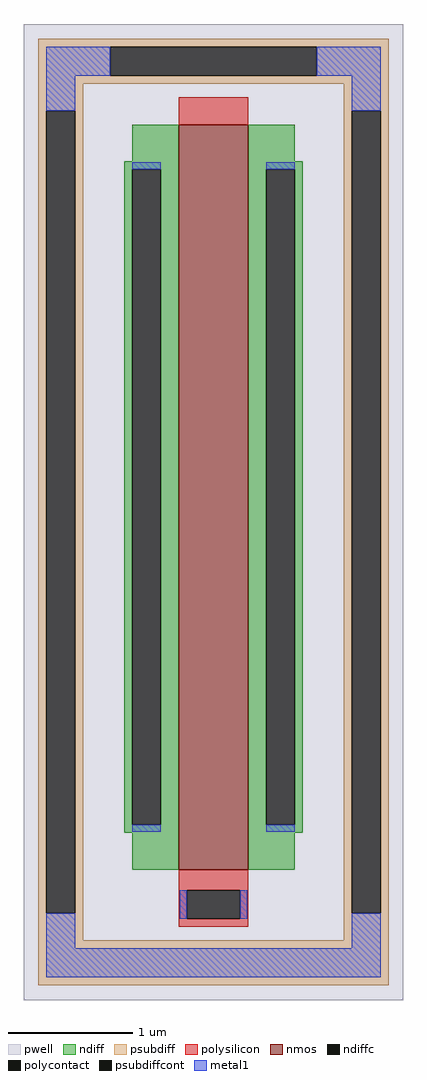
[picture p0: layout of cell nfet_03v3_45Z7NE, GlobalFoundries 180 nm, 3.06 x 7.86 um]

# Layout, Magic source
magic
tech gf180mcuD
magscale 1 10
<< pwell >>
rect -306 -786 306 786
<< nmos >>
rect -56 -576 56 624
<< ndiff >>
rect -131 565 -56 624
rect -144 552 -56 565
rect -144 -504 -131 552
rect -85 -504 -56 552
rect -144 -517 -56 -504
rect -131 -576 -56 -517
rect 56 565 131 624
rect 56 552 144 565
rect 56 -504 85 552
rect 131 -504 144 552
rect 56 -517 144 -504
rect 56 -576 131 -517
<< ndiffc >>
rect -131 -504 -85 552
rect 85 -504 131 552
<< psubdiff >>
rect -282 749 282 762
rect -282 703 -166 749
rect 166 703 282 749
rect -282 690 282 703
rect -282 646 -210 690
rect -282 -646 -269 646
rect -223 -646 -210 646
rect 210 646 282 690
rect -282 -690 -210 -646
rect 210 -646 223 646
rect 269 -646 282 646
rect 210 -690 282 -646
rect -282 -762 282 -690
<< psubdiffcont >>
rect -166 703 166 749
rect -269 -646 -223 646
rect 223 -646 269 646
<< polysilicon >>
rect -56 624 56 668
rect -56 -609 56 -576
rect -56 -655 -43 -609
rect 43 -655 56 -609
rect -56 -668 56 -655
<< polycontact >>
rect -43 -655 43 -609
<< metal1 >>
rect -269 703 -166 749
rect 166 703 269 749
rect -269 646 -223 703
rect 223 646 269 703
rect -131 552 -85 563
rect -131 -515 -85 -504
rect 85 552 131 563
rect 85 -515 131 -504
rect -269 -703 -223 -646
rect -54 -655 -43 -609
rect 43 -655 54 -609
rect 223 -703 269 -646
rect -269 -749 269 -703
<< properties >>
string FIXED_BBOX -246 -726 246 726
string gencell nfet_03v3
string library gf180mcu
string parameters w 6.0 l 0.56 m 1 nf 1 diffcov 90 polycov 100 guard 1 glc 1 grc 1 gtc 1 gbc 0 tbcov 100 rlcov 100 topc 0 botc 1 poverlap 0 doverlap 1 lmin 0.28 wmin 0.22 class mosfet full_metal 1 compatible {nfet_03v3 nfet_05v0 nfet_06v0 nfet_06v0_nvt}
<< end >>
